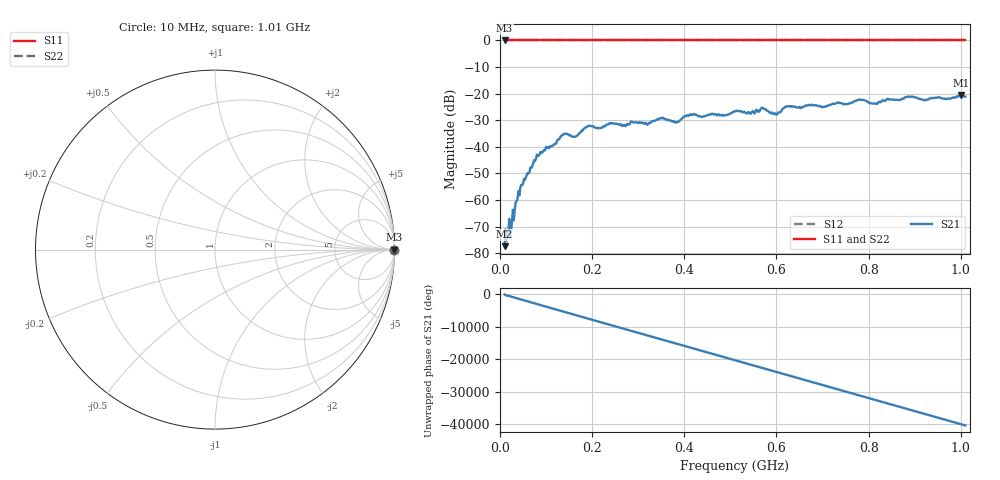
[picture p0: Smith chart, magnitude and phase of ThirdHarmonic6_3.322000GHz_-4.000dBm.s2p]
! 8/17/2025 10:24:38 AM
! C:\ANRITSUVNA\TEMP\TEMP.S2P
! CHANNEL.1
! TR.MEASUREMENT
! RAW.DATA
! RF.CORRECTION.OFF
! AVERAGING.OFF
! IF.BANDWIDTH: 5KHZ
! SWEEPTYPE:  FREQ.SWEEP(Linear)
! Reference Plane Port Info
! PORT:  PORT1  PORT2
! DISTANCE:  0  m  0  m
! TIME:  0  s  0  s
! PHASE.OFFSET:  0  deg.  0  deg.
! LOSS:  0  dB  0  dB
! REF.LOSS:  0  dB  0  dB
! REF.FREQ:  0  Hz  0  Hz
! Power Info
! POWER:  -20  dBm  -20  dBm
! EFF.POWER:  -20  dBm  -20  dBm
! SOURCE.ATTEN:  0  dB  0  dB
! TEST.ATTEN:  0  dB  0  dB
# GHZ S RI R 50.0
! FREQ.GHZ  S11RE  S11IM  S21RE  S21IM  S12RE  S12IM  S22RE  S22IM
!; PortSelection: Port_12
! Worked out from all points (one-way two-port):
!   501 points, 10 MHz to 1.01 GHz, reference 50 ohm
!   highest |S21| = -20.53 dB at 1 GHz (marker M1); lowest = -77.4 dB at 10 MHz (marker M2)
!   lowest |S11| = 0.0 dB at 10 MHz (marker M3)
!   |S11| at or under -10 dB: nowhere
!   |S22| runs from 0.0 to 0.0 dB; largest |S21 - S12| = 1.1
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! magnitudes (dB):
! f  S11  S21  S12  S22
! 10 MHz  0.0  -77.4  0.0  0.0
! 26 MHz  0.0  -68.4  0.0  0.0
! 36 MHz  0.0  -60.4  0.0  0.0
! 44 MHz  0.0  -55.4  0.0  0.0
! 78 MHz  0.0  -44.6  0.0  0.0
! 136 MHz  0.0  -35.6  0.0  0.0
! 162 MHz  0.0  -36.3  0.0  0.0
! 178 MHz  0.0  -33.8  0.0  0.0
! 194 MHz  0.0  -32.0  0.0  0.0
! 322 MHz  0.0  -31.4  0.0  0.0
! 344 MHz  0.0  -29.7  0.0  0.0
! 384 MHz  0.0  -30.7  0.0  0.0
! 418 MHz  0.0  -28.0  0.0  0.0
! 510 MHz  0.0  -26.6  0.0  0.0
! 570 MHz  0.0  -25.3  0.0  0.0
! 598 MHz  0.0  -27.5  0.0  0.0
! 624 MHz  0.0  -24.7  0.0  0.0
! 678 MHz  0.0  -24.2  0.0  0.0
! 814 MHz  0.0  -23.7  0.0  0.0
! 844 MHz  0.0  -22.2  0.0  0.0
! 1 GHz  0.0  -20.5  0.0  0.0
! 1.01 GHz  0.0  -21.1  0.0  0.0
